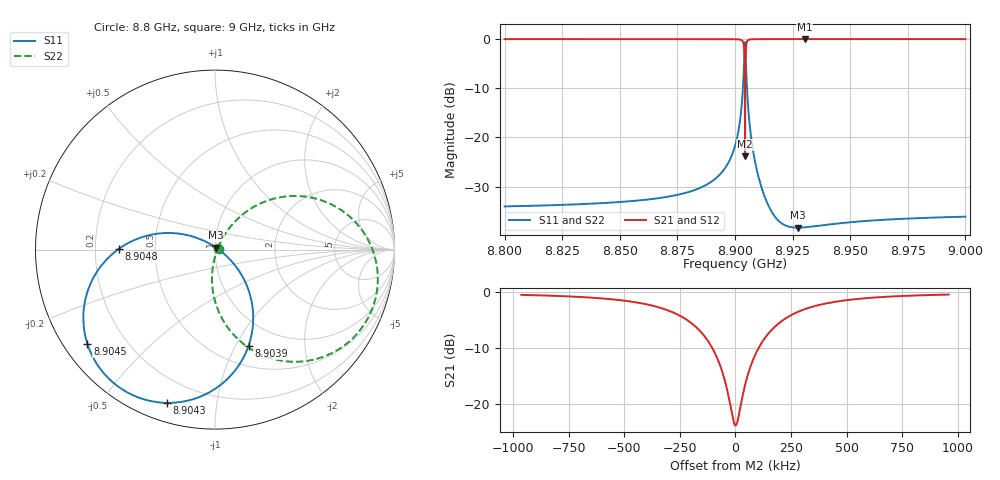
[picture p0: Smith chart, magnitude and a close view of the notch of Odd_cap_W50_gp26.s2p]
! Sonnet Data File
! From: emgraph Version : 16.52
! From Project: Resonator2_cp
! Data is De-embedded
! Data File Written: 10/07/2017 20:46:09
!< HDATE 10/07/2017 17:10:37
!< MDATE 10/07/2017 17:10:37
!< PARAMS
!< gap = 26.0
!< Length = 400.0
!< Pwid1 = 2000.0
!< Pwid2 = 2000.0
!< Air_gap = 30.0
!< Width = 50.0
!< END PARAMS
# GHZ S MA R 47.50000
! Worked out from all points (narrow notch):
!   1595 points, 8.8 GHz to 9 GHz, reference 47.5 ohm
!   highest |S21| = 0.00 dB at 8.9302 GHz (marker M1); lowest = -23.8 dB at 8.9044 GHz (marker M2)
!   notch at M2: 23.8 dB deep, 162 kHz wide at half that depth
!   lowest |S11| = -38.3 dB at 8.9272 GHz (marker M3), VSWR 1.02, Z = 48.1 + j0.961 ohm
!   |S11| at or under -10 dB: start of sweep to 8.9034 GHz; 8.9052 GHz to end of sweep
!   |S22| runs from -38.3 to -0.6 dB; largest |S21 - S12| = 0
!   S11 on the Smith chart (normalised r, x): 8.8 GHz: 1.04, +0.00; 8.9039 GHz: 0.71, -1.13; 8.9043 GHz: 0.09, -0.73; 8.9045 GHz: 0.07, -0.33; 8.9048 GHz: 0.30, +0.00; 9 GHz: 1.03, +0.01
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8.8  0.0199 3.1  0.9998 -72.4  0.9998 -72.4  0.01991 32.1
!< P1 F=8.8 Eeff=(5.02890353 -2.1766e-5) Z0=(47.410578 1.04358e-4) R=0.0 C=0.0
!< P2 F=8.8 Eeff=(5.02890353 -2.1766e-5) Z0=(47.410578 1.04358e-4) R=0.0 C=0.0
8.8334  0.021 0.5  0.9998 -72.7  0.9998 -72.7  0.021 34.1
8.8668  0.02415 -5.2  0.9997 -73.2  0.9997 -73.2  0.02415 38.7
8.8898  0.03553 -16.4  0.9993 -74.1  0.9993 -74.1  0.03555 48.0
8.9  0.08188 -30.8  0.9963 -77.0  0.9963 -77.0  0.08198 56.5
8.902981  0.2231 -45.1  0.9716 -85.2  0.9716 -85.2  0.2234 53.1
8.903932  0.5681 -70.8  0.796 -106.9  0.796 -106.9  0.569 31.5
8.904136  0.7714 -89.5  0.5685 -122.6  0.5685 -122.6  0.7727 13.8
8.904259  0.8948 -107.3  0.2969 -133.5  0.2969 -133.5  0.8963 -3.6
8.904356  0.9346 -124.4  0.0646 -73.1  0.0646 -73.1  0.9362 -20.2
8.904464  0.8844 -143.5  0.3275 -12.0  0.3275 -12.0  0.8859 -38.7
8.9046  0.7384 -162.7  0.6138 -24.9  0.6138 -24.9  0.7397 -57.4
8.9048  0.5373 179.7  0.8181 -39.9  0.8181 -39.9  0.5383 -74.0
8.905412  0.2585 159.1  0.9607 -57.4  0.9607 -57.4  0.259 -91.5
8.907012  0.09916 144.7  0.9942 -66.7  0.9942 -66.7  0.09936 -97.1
8.911611  0.03049 123.9  0.9994 -70.8  0.9994 -70.8  0.03058 -85.1
8.9186  0.01444 89.0  0.9999 -72.0  0.9999 -72.0  0.01449 -52.9
8.9272  0.01211 55.5  0.9999 -72.5  0.9999 -72.5  0.01213 -20.5
8.9302  0.0122 48.2  0.9999 -72.6  0.9999 -72.6  0.01222 -13.5
8.9334  0.01242 42.3  0.9999 -72.7  0.9999 -72.7  0.01243 -7.8
8.9668  0.01466 20.2  0.9999 -73.3  0.9999 -73.3  0.01466 13.1
9  0.01566 14.7  0.9999 -73.7  0.9999 -73.7  0.01566 17.8
